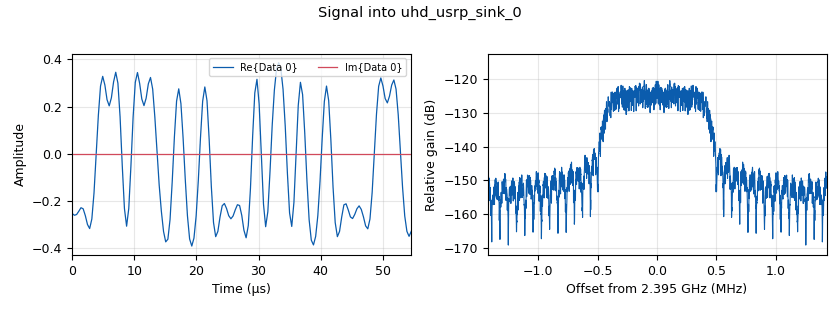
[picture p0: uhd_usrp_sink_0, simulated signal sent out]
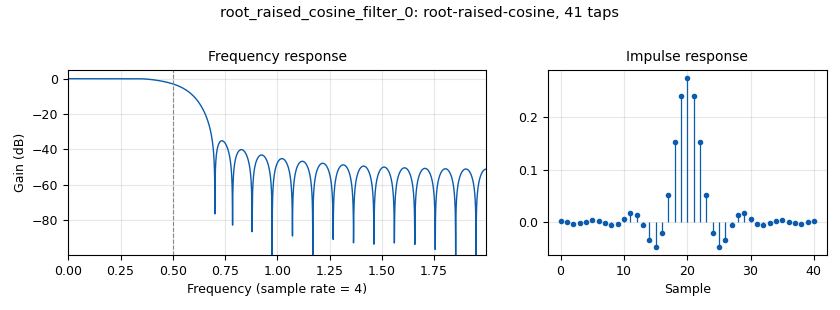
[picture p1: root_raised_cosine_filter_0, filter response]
<?xml version='1.0' encoding='utf-8'?>
<?grc format='1' created='3.7.13'?>
<flow_graph>
<block>
<key>options</key>
<param><key>id</key><value>rx_3n</value></param>
<param><key>generate_options</key><value>no_gui</value></param>
<param><key>run_options</key><value>run</value></param>
</block>
<block>
<key>variable</key>
<param><key>id</key><value>center_freq</value></param>
<param><key>value</key><value>2.395e9</value></param>
</block>
<block>
<key>variable</key>
<param><key>id</key><value>data_path_str</value></param>
<param><key>value</key><value>'/home/rbell/Documents/repos/localization/data/9 - long wires 01_18_2020/'</value></param>
</block>
<block>
<key>variable</key>
<param><key>id</key><value>nitems_stop</value></param>
<param><key>value</key><value>np.ceil(sps*(prnLen+nzeros)*npulses_stop*samp_rate/tx_samp_rate)</value></param>
</block>
<block>
<key>variable</key>
<param><key>id</key><value>npulses_stop</value></param>
<param><key>value</key><value>100</value></param>
</block>
<block>
<key>variable</key>
<param><key>id</key><value>nzeros</value></param>
<param><key>value</key><value>3000</value></param>
</block>
<block>
<key>variable</key>
<param><key>id</key><value>prnLen</value></param>
<param><key>value</key><value>1000</value></param>
</block>
<block>
<key>variable</key>
<param><key>id</key><value>rx_gain</value></param>
<param><key>value</key><value>20</value></param>
</block>
<block>
<key>variable</key>
<param><key>id</key><value>rx_samp_rate_str</value></param>
<param><key>value</key><value>'rfs9'</value></param>
</block>
<block>
<key>variable</key>
<param><key>id</key><value>samp_rate</value></param>
<param><key>value</key><value>200e6/22</value></param>
</block>
<block>
<key>variable</key>
<param><key>id</key><value>span</value></param>
<param><key>value</key><value>10</value></param>
</block>
<block>
<key>variable</key>
<param><key>id</key><value>sps</value></param>
<param><key>value</key><value>4</value></param>
</block>
<block>
<key>variable</key>
<param><key>id</key><value>test_num_str</value></param>
<param><key>value</key><value>'5'</value></param>
</block>
<block>
<key>variable</key>
<param><key>id</key><value>tx_gain</value></param>
<param><key>value</key><value>20</value></param>
</block>
<block>
<key>variable</key>
<param><key>id</key><value>tx_loc_str</value></param>
<param><key>value</key><value>'tx_center'</value></param>
</block>
<block>
<key>variable</key>
<param><key>id</key><value>tx_samp_rate</value></param>
<param><key>value</key><value>200e6/70</value></param>
</block>
<block>
<key>blocks_file_sink</key>
<param><key>id</key><value>blocks_file_sink_0</value></param>
<param><key>file</key><value>data_path_str + tx_loc_str + '/' + rx_samp_rate_str + '/' + test_num_str + '/' + 'rx1.dat'</value></param>
<param><key>type</key><value>complex</value></param>
</block>
<block>
<key>blocks_file_sink</key>
<param><key>id</key><value>blocks_file_sink_0_0</value></param>
<param><key>file</key><value>data_path_str + tx_loc_str + '/' + rx_samp_rate_str + '/' + test_num_str + '/' + 'rx2.dat'</value></param>
<param><key>type</key><value>complex</value></param>
</block>
<block>
<key>blocks_file_sink</key>
<param><key>id</key><value>blocks_file_sink_0_0_0</value></param>
<param><key>file</key><value>data_path_str + tx_loc_str + '/' + rx_samp_rate_str + '/' + test_num_str + '/' + 'rx3.dat'</value></param>
<param><key>type</key><value>complex</value></param>
</block>
<block>
<key>blocks_head</key>
<param><key>id</key><value>blocks_head_0</value></param>
<param><key>num_items</key><value>int(nitems_stop)</value></param>
<param><key>type</key><value>complex</value></param>
</block>
<block>
<key>blocks_head</key>
<param><key>id</key><value>blocks_head_0_0</value></param>
<param><key>num_items</key><value>int(nitems_stop)</value></param>
<param><key>type</key><value>complex</value></param>
</block>
<block>
<key>blocks_head</key>
<param><key>id</key><value>blocks_head_0_1</value></param>
<param><key>num_items</key><value>int(nitems_stop)</value></param>
<param><key>type</key><value>complex</value></param>
</block>
<block>
<key>blocks_vector_sink_x</key>
<param><key>id</key><value>blocks_vector_sink_x_0</value></param>
<param><key>_enabled</key><value>0</value></param>
<param><key>type</key><value>complex</value></param>
</block>
<block>
<key>blocks_vector_sink_x</key>
<param><key>id</key><value>blocks_vector_sink_x_1</value></param>
<param><key>_enabled</key><value>0</value></param>
<param><key>type</key><value>complex</value></param>
</block>
<block>
<key>blocks_vector_sink_x</key>
<param><key>id</key><value>blocks_vector_sink_x_2</value></param>
<param><key>_enabled</key><value>0</value></param>
<param><key>type</key><value>complex</value></param>
</block>
<block>
<key>blocks_vector_source_x</key>
<param><key>id</key><value>blocks_vector_source_x_0</value></param>
<param><key>type</key><value>complex</value></param>
<param><key>repeat</key><value>True</value></param>
<param><key>vector</key><value>list(np.zeros(int(nzeros/2)))+list(2*np.random.randint(0,2,size=prnLen)-1)+list(np.zeros(int(nzeros/2)))</value></param>
</block>
<block>
<key>dc_blocker_xx</key>
<param><key>id</key><value>dc_blocker_xx_0</value></param>
<param><key>length</key><value>200</value></param>
<param><key>long_form</key><value>True</value></param>
<param><key>type</key><value>cc</value></param>
</block>
<block>
<key>dc_blocker_xx</key>
<param><key>id</key><value>dc_blocker_xx_0_0</value></param>
<param><key>length</key><value>200</value></param>
<param><key>long_form</key><value>True</value></param>
<param><key>type</key><value>cc</value></param>
</block>
<block>
<key>dc_blocker_xx</key>
<param><key>id</key><value>dc_blocker_xx_0_0_0</value></param>
<param><key>length</key><value>200</value></param>
<param><key>long_form</key><value>True</value></param>
<param><key>type</key><value>cc</value></param>
</block>
<block>
<key>import</key>
<param><key>id</key><value>import_0</value></param>
<param><key>import</key><value>import numpy as np</value></param>
</block>
<block>
<key>root_raised_cosine_filter</key>
<param><key>id</key><value>root_raised_cosine_filter_0</value></param>
<param><key>alpha</key><value>0.35</value></param>
<param><key>type</key><value>interp_fir_filter_ccf</value></param>
<param><key>gain</key><value>1</value></param>
<param><key>interp</key><value>sps</value></param>
<param><key>ntaps</key><value>sps*span</value></param>
<param><key>samp_rate</key><value>sps</value></param>
<param><key>sym_rate</key><value>1</value></param>
</block>
<block>
<key>uhd_usrp_sink</key>
<param><key>id</key><value>uhd_usrp_sink_0</value></param>
<param><key>ant0</key><value>TX/RX</value></param>
<param><key>center_freq0</key><value>center_freq</value></param>
<param><key>norm_gain0</key><value>False</value></param>
<param><key>gain0</key><value>tx_gain</value></param>
<param><key>clock_rate</key><value>0.0</value></param>
<param><key>dev_addr</key><value>"addr0=192.168.13.2"</value></param>
<param><key>dev_args</key><value>""</value></param>
<param><key>type</key><value>fc32</value></param>
<param><key>clock_source0</key><value>external</value></param>
<param><key>time_source0</key><value>external</value></param>
<param><key>samp_rate</key><value>tx_samp_rate</value></param>
<param><key>hide_cmd_port</key><value>False</value></param>
<param><key>hide_lo_controls</key><value>True</value></param>
<param><key>sync</key><value>sync</value></param>
<param><key>len_tag_name</key><value></value></param>
</block>
<block>
<key>uhd_usrp_source</key>
<param><key>id</key><value>uhd_usrp_source_0</value></param>
<param><key>ant0</key><value>RX2</value></param>
<param><key>center_freq0</key><value>center_freq</value></param>
<param><key>dc_offs_enb0</key><value>False</value></param>
<param><key>iq_imbal_enb0</key><value>False</value></param>
<param><key>norm_gain0</key><value>False</value></param>
<param><key>gain0</key><value>rx_gain</value></param>
<param><key>ant1</key><value>TX/RX</value></param>
<param><key>center_freq1</key><value>center_freq</value></param>
<param><key>dc_offs_enb1</key><value>False</value></param>
<param><key>iq_imbal_enb1</key><value>False</value></param>
<param><key>norm_gain1</key><value>False</value></param>
<param><key>gain1</key><value>rx_gain</value></param>
<param><key>ant2</key><value>RX2</value></param>
<param><key>center_freq2</key><value>center_freq</value></param>
<param><key>dc_offs_enb2</key><value>False</value></param>
<param><key>iq_imbal_enb2</key><value>False</value></param>
<param><key>norm_gain2</key><value>False</value></param>
<param><key>gain2</key><value>rx_gain</value></param>
<param><key>clock_rate</key><value>0.0</value></param>
<param><key>dev_addr</key><value>"addr0=192.168.10.2,addr1=192.168.11.2,addr2=192.168.12.2"</value></param>
<param><key>dev_args</key><value>""</value></param>
<param><key>clock_source0</key><value>external</value></param>
<param><key>sd_spec0</key><value>B:0</value></param>
<param><key>time_source0</key><value>external</value></param>
<param><key>clock_source1</key><value>external</value></param>
<param><key>sd_spec1</key><value>B:0</value></param>
<param><key>time_source1</key><value>external</value></param>
<param><key>clock_source2</key><value>external</value></param>
<param><key>sd_spec2</key><value>B:0</value></param>
<param><key>time_source2</key><value>external</value></param>
<param><key>nchan</key><value>3</value></param>
<param><key>num_mboards</key><value>3</value></param>
<param><key>type</key><value>fc32</value></param>
<param><key>samp_rate</key><value>samp_rate</value></param>
<param><key>hide_cmd_port</key><value>True</value></param>
<param><key>hide_lo_controls</key><value>True</value></param>
<param><key>sync</key><value>sync</value></param>
</block>
<connection><source_block_id>blocks_head_0</source_block_id><sink_block_id>blocks_file_sink_0</sink_block_id><source_key>0</source_key><sink_key>0</sink_key></connection>
<connection><source_block_id>blocks_head_0_0</source_block_id><sink_block_id>blocks_file_sink_0_0</sink_block_id><source_key>0</source_key><sink_key>0</sink_key></connection>
<connection><source_block_id>blocks_head_0_1</source_block_id><sink_block_id>blocks_file_sink_0_0_0</sink_block_id><source_key>0</source_key><sink_key>0</sink_key></connection>
<connection><source_block_id>blocks_vector_source_x_0</source_block_id><sink_block_id>root_raised_cosine_filter_0</sink_block_id><source_key>0</source_key><sink_key>0</sink_key></connection>
<connection><source_block_id>dc_blocker_xx_0</source_block_id><sink_block_id>blocks_head_0</sink_block_id><source_key>0</source_key><sink_key>0</sink_key></connection>
<connection><source_block_id>dc_blocker_xx_0_0</source_block_id><sink_block_id>blocks_head_0_0</sink_block_id><source_key>0</source_key><sink_key>0</sink_key></connection>
<connection><source_block_id>dc_blocker_xx_0_0_0</source_block_id><sink_block_id>blocks_head_0_1</sink_block_id><source_key>0</source_key><sink_key>0</sink_key></connection>
<connection><source_block_id>root_raised_cosine_filter_0</source_block_id><sink_block_id>uhd_usrp_sink_0</sink_block_id><source_key>0</source_key><sink_key>0</sink_key></connection>
<connection><source_block_id>uhd_usrp_source_0</source_block_id><sink_block_id>blocks_vector_sink_x_0</sink_block_id><source_key>0</source_key><sink_key>0</sink_key></connection>
<connection><source_block_id>uhd_usrp_source_0</source_block_id><sink_block_id>dc_blocker_xx_0</sink_block_id><source_key>0</source_key><sink_key>0</sink_key></connection>
<connection><source_block_id>uhd_usrp_source_0</source_block_id><sink_block_id>blocks_vector_sink_x_1</sink_block_id><source_key>1</source_key><sink_key>0</sink_key></connection>
<connection><source_block_id>uhd_usrp_source_0</source_block_id><sink_block_id>dc_blocker_xx_0_0</sink_block_id><source_key>1</source_key><sink_key>0</sink_key></connection>
<connection><source_block_id>uhd_usrp_source_0</source_block_id><sink_block_id>blocks_vector_sink_x_2</sink_block_id><source_key>2</source_key><sink_key>0</sink_key></connection>
<connection><source_block_id>uhd_usrp_source_0</source_block_id><sink_block_id>dc_blocker_xx_0_0_0</sink_block_id><source_key>2</source_key><sink_key>0</sink_key></connection>
</flow_graph>
